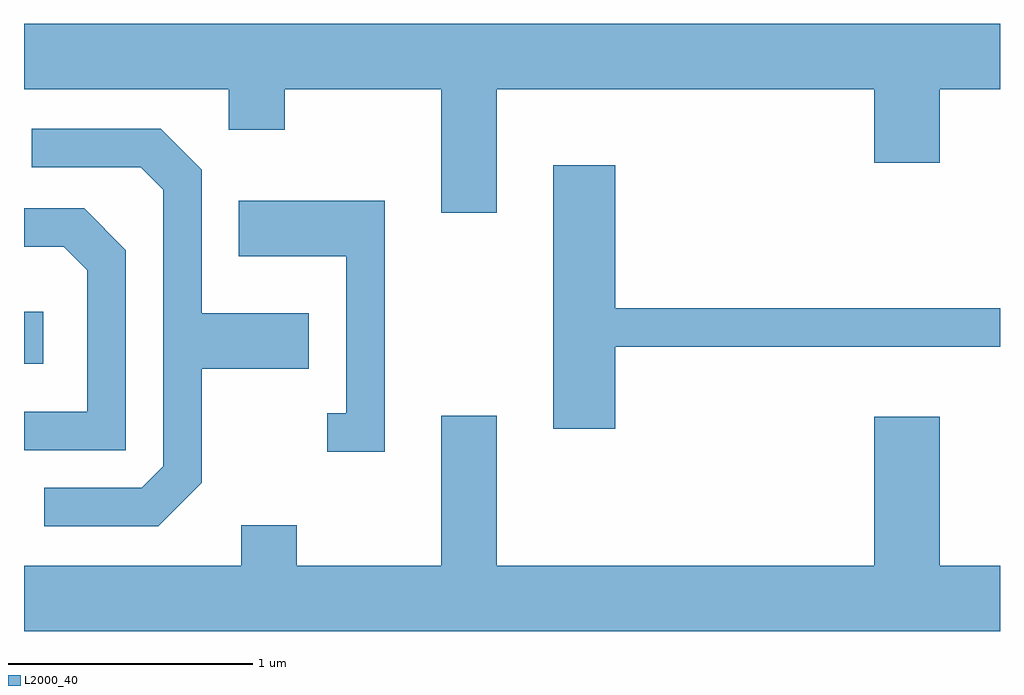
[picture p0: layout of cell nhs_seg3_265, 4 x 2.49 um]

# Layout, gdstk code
import gdstk
lib = gdstk.Library(unit=1e-6, precision=1e-09)
def R(c, l, rs):  # rectangles x0, y0, x1, y1
    for r in rs: c.add(gdstk.rectangle(r[:2], r[2:], *l))
def P(c, l, *ps):  # polygons
    for p in ps: c.add(gdstk.Polygon(p, *l))
L2000_40 = (2000, 40)

nhs_seg3_265 = lib.new_cell('nhs_seg3_265')
R(nhs_seg3_265, L2000_40, [(191.611,1240.331,191.689,1240.544)])
P(nhs_seg3_265, L2000_40, [(193.549,1241.456),(195.096,1241.456),(195.096,1241.156),(195.364,1241.156),(195.364,1241.456),(195.611,1241.456),(195.611,1241.724),(191.611,1241.724),(191.611,1241.456),(192.451,1241.456),(192.451,1241.291),(192.679,1241.291),(192.679,1241.456),(193.321,1241.456),(193.321,1240.951),(193.549,1240.951)],
  [(192.339,1239.844),(192.339,1240.311),(192.779,1240.311),(192.779,1240.539),(192.339,1240.539),(192.339,1241.127),(192.172,1241.294),(191.643,1241.294),(191.643,1241.136),(192.089,1241.136),(192.181,1241.044),(192.181,1239.912),(192.094,1239.824),(191.693,1239.824),(191.693,1239.666),(192.162,1239.666)],
  [(194.034,1240.401),(195.611,1240.401),(195.611,1240.559),(194.034,1240.559),(194.034,1241.144),(193.781,1241.144),(193.781,1240.066),(194.034,1240.066)],
  [(193.089,1240.999),(192.491,1240.999),(192.491,1240.771),(192.931,1240.771),(192.931,1240.129),(192.853,1240.129),(192.853,1239.971),(193.089,1239.971)],
  [(192.029,1240.797),(191.857,1240.969),(191.611,1240.969),(191.611,1240.811),(191.774,1240.811),(191.871,1240.714),(191.871,1240.134),(191.611,1240.134),(191.611,1239.976),(192.029,1239.976)],
  [(195.611,1239.504),(195.364,1239.504),(195.364,1240.114),(195.096,1240.114),(195.096,1239.504),(193.549,1239.504),(193.549,1240.119),(193.321,1240.119),(193.321,1239.504),(192.729,1239.504),(192.729,1239.669),(192.501,1239.669),(192.501,1239.504),(191.611,1239.504),(191.611,1239.236),(195.611,1239.236)])

lib.write_gds('nhs_seg3_265.gds')
